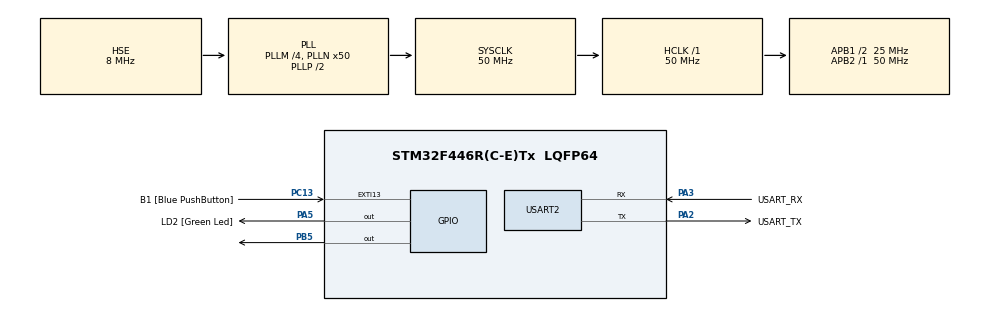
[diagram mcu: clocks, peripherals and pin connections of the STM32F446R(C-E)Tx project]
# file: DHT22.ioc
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Mcu.Family=STM32F4
Mcu.Name=STM32F446R(C-E)Tx
Mcu.Package=LQFP64
NVIC.PriorityGroup=NVIC_PRIORITYGROUP_0
PA13.GPIO_Label=TMS
PA13.Mode=Serial_Wire
PA13.Signal=SYS_JTMS-SWDIO
PA14.GPIO_Label=TCK
PA14.Mode=Serial_Wire
PA14.Signal=SYS_JTCK-SWCLK
PA2.GPIO_Label=USART_TX
PA2.Mode=Asynchronous
PA2.Signal=USART2_TX
PA3.GPIO_Label=USART_RX
PA3.Mode=Asynchronous
PA3.Signal=USART2_RX
PA5.GPIO_Label=LD2 [Green Led]
PA5.Signal=GPIO_Output
PB3.GPIO_Label=SWO
PB3.Signal=SYS_JTDO-SWO
PB5.Signal=GPIO_Output
PC13.GPIO_Label=B1 [Blue PushButton]
PC13.GPIO_ModeDefaultEXTI=GPIO_MODE_IT_FALLING
PC13.Signal=GPXTI13
PC14-OSC32_IN.Mode=LSE-External-Oscillator
PC14-OSC32_IN.Signal=RCC_OSC32_IN
PC15-OSC32_OUT.Mode=LSE-External-Oscillator
PC15-OSC32_OUT.Signal=RCC_OSC32_OUT
PH0-OSC_IN.Mode=HSE-External-Oscillator
PH0-OSC_IN.Signal=RCC_OSC_IN
PH1-OSC_OUT.Mode=HSE-External-Oscillator
PH1-OSC_OUT.Signal=RCC_OSC_OUT
ProjectManager.HeapSize=0x200
ProjectManager.StackSize=0x400
ProjectManager.TargetToolchain=STM32CubeIDE
RCC.48MHZClocksFreq_Value=84000000
RCC.AHBFreq_Value=50000000
RCC.APB1CLKDivider=RCC_HCLK_DIV2
RCC.APB1Freq_Value=25000000
RCC.APB1TimFreq_Value=50000000
RCC.APB2Freq_Value=50000000
RCC.APB2TimFreq_Value=50000000
RCC.CortexFreq_Value=50000000
RCC.FLatency-AdvancedSettings=FLASH_LATENCY_1
RCC.HCLKFreq_Value=50000000
RCC.HSE_VALUE=8000000
RCC.HSI_VALUE=16000000
RCC.PLLM=4
RCC.PLLN=50
RCC.PLLSourceVirtual=RCC_PLLSOURCE_HSE
RCC.SYSCLKFreq_VALUE=50000000
RCC.SYSCLKSource=RCC_SYSCLKSOURCE_PLLCLK
RCC.USBFreq_Value=50000000
RCC.VCOOutputFreq_Value=100000000
TIM6.Prescaler=50-1
USART2.VirtualMode=VM_ASYNC
VP_TIM6_VS_ClockSourceINT.Mode=Enable_Timer
board=NUCLEO-F446RE

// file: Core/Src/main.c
/* USER CODE BEGIN Header */
/**
 ******************************************************************************
 * @file           : main.c
 * @brief          : Main program body
 ******************************************************************************
 * @attention
 *
 * Copyright (c) 2025 STMicroelectronics.
 * All rights reserved.
 *
 * This software is licensed under terms that can be found in the LICENSE file
 * in the root directory of this software component.
 * If no LICENSE file comes with this software, it is provided AS-IS.
 *
 ******************************************************************************
 */
/* USER CODE END Header */
#include "main.h"

/* USER CODE BEGIN Includes */
#include "stdio.h"
/* USER CODE END Includes */

TIM_HandleTypeDef htim6;

UART_HandleTypeDef huart2;

void SystemClock_Config(void);
static void MX_GPIO_Init(void);
static void MX_TIM6_Init(void);
static void MX_USART2_UART_Init(void);

/* USER CODE BEGIN 0 */

// Function to dynamically change GPIO pin mode to output
void Set_Pin_Output(GPIO_TypeDef *GPIOx, uint16_t GPIO_Pin)
{
  GPIO_InitTypeDef GPIO_InitStruct = {0};
  GPIO_InitStruct.Pin = GPIO_Pin;
  GPIO_InitStruct.Mode = GPIO_MODE_OUTPUT_PP;
  GPIO_InitStruct.Pull = GPIO_NOPULL;
  GPIO_InitStruct.Speed = GPIO_SPEED_FREQ_LOW;
  HAL_GPIO_Init(GPIOx, &GPIO_InitStruct);
}

// Function to dynamically change GPIO pin mode to input
void Set_Pin_Input(GPIO_TypeDef *GPIOx, uint16_t GPIO_Pin)
{
  GPIO_InitTypeDef GPIO_InitStruct = {0};
  GPIO_InitStruct.Pin = GPIO_Pin;
  GPIO_InitStruct.Mode = GPIO_MODE_INPUT;
  GPIO_InitStruct.Pull = GPIO_NOPULL;
  HAL_GPIO_Init(GPIOx, &GPIO_InitStruct);
}

// Microsecond delay function using TIM6
void delay(uint16_t time)
{
  __HAL_TIM_SET_COUNTER(&htim6, 0);
  while ((__HAL_TIM_GET_COUNTER(&htim6)) < time)
    ;
}

void DHT22_Start(void)
{
  Set_Pin_Output(GPIOB, GPIO_PIN_5);
  HAL_GPIO_WritePin(GPIOB, GPIO_PIN_5, GPIO_PIN_RESET);
  HAL_Delay(1200);

  HAL_GPIO_WritePin(GPIOB, GPIO_PIN_5, GPIO_PIN_SET);
  delay(20);
  Set_Pin_Input(GPIOB, GPIO_PIN_5);
}

uint8_t DHT22_Check_Response(void)
{
  Set_Pin_Input(GPIOB, GPIO_PIN_5); // set as input
  uint8_t Response = 0;
  delay(40);                                  // wait for 40us
  if (!(HAL_GPIO_ReadPin(GPIOB, GPIO_PIN_5))) // if the pin is low
  {
    delay(80); // wait for 80us

    if ((HAL_GPIO_ReadPin(GPIOB, GPIO_PIN_5)))
      Response = 1; // if the pin is high, response is ok
    else
      Response = -1;
  }

  while ((HAL_GPIO_ReadPin(GPIOB, GPIO_PIN_5)))
    ; // wait for the pin to go low
  return Response;
}

uint8_t DHT22_Read(void)
{
  uint8_t i = 0, j;  // Initialize i to 0
  for (j = 0; j < 8; j++)
  {
    while (!(HAL_GPIO_ReadPin(GPIOB, GPIO_PIN_5)))
      ;        // wait for the pin to go high
    delay(40); // wait for 40 us

    if (!(HAL_GPIO_ReadPin(GPIOB, GPIO_PIN_5))) // if the pin is low
    {
      i &= ~(1 << (7 - j)); // write 0
    }
    else
      i |= (1 << (7 - j)); // if the pin is high, write 1
    while ((HAL_GPIO_ReadPin(GPIOB, GPIO_PIN_5)))
      ; // wait for the pin to go low
  }

  return i;
}
/* USER CODE END 0 */

int main(void)
{

  /* MCU Configuration--------------------------------------------------------*/

  /* Reset of all peripherals, Initializes the Flash interface and the Systick. */
  HAL_Init();

  /* Configure the system clock */
  SystemClock_Config();

  /* Initialize all configured peripherals */
  MX_GPIO_Init();
  MX_TIM6_Init();
  MX_USART2_UART_Init();
  /* USER CODE BEGIN 2 */
 HAL_TIM_Base_Start(&htim6);  // for us Delay
 uint8_t  Rh_byte1, Rh_byte2, Temp_byte1, Temp_byte2;//, SUM, TEMP, RH;
//  float Temperature, Humidity;
  /* USER CODE END 2 */

  /* Infinite loop */
  while (1)
  {

    /* USER CODE BEGIN 3 */
    DHT22_Start();
      // Presence =
      DHT22_Check_Response();
      Rh_byte1 = DHT22_Read ();
      Rh_byte2 = DHT22_Read ();
      Temp_byte1 = DHT22_Read ();
      Temp_byte2 = DHT22_Read ();
      //SUM =
      DHT22_Read();

      // TEMP = ((Temp_byte1<<8)|Temp_byte2);
      // RH = ((Rh_byte1<<8)|Rh_byte2);
    printf("RH: %d.%d, T: %d.%d\r\n",Rh_byte1,Rh_byte2,Temp_byte1,Temp_byte2);
      // Temperature = (float) (TEMP/10.0);
      // Humidity = (float) (RH/10.0);

      HAL_Delay(2000);
  }
  /* USER CODE END 3 */
}

void SystemClock_Config(void)
{
  RCC_OscInitTypeDef RCC_OscInitStruct = {0};
  RCC_ClkInitTypeDef RCC_ClkInitStruct = {0};

  /** Configure the main internal regulator output voltage
   */
  __HAL_RCC_PWR_CLK_ENABLE();
  __HAL_PWR_VOLTAGESCALING_CONFIG(PWR_REGULATOR_VOLTAGE_SCALE3);

  /** Initializes the RCC Oscillators according to the specified parameters
   * in the RCC_OscInitTypeDef structure.
   */
  RCC_OscInitStruct.OscillatorType = RCC_OSCILLATORTYPE_HSE;
  RCC_OscInitStruct.HSEState = RCC_HSE_ON;
  RCC_OscInitStruct.PLL.PLLState = RCC_PLL_ON;
  RCC_OscInitStruct.PLL.PLLSource = RCC_PLLSOURCE_HSE;
  RCC_OscInitStruct.PLL.PLLM = 4;
  RCC_OscInitStruct.PLL.PLLN = 50;
  RCC_OscInitStruct.PLL.PLLP = RCC_PLLP_DIV2;
  RCC_OscInitStruct.PLL.PLLQ = 2;
  RCC_OscInitStruct.PLL.PLLR = 2;
  if (HAL_RCC_OscConfig(&RCC_OscInitStruct) != HAL_OK)
  {
    Error_Handler();
  }

  /** Initializes the CPU, AHB and APB buses clocks
   */
  RCC_ClkInitStruct.ClockType = RCC_CLOCKTYPE_HCLK | RCC_CLOCKTYPE_SYSCLK | RCC_CLOCKTYPE_PCLK1 | RCC_CLOCKTYPE_PCLK2;
  RCC_ClkInitStruct.SYSCLKSource = RCC_SYSCLKSOURCE_PLLCLK;
  RCC_ClkInitStruct.AHBCLKDivider = RCC_SYSCLK_DIV1;
  RCC_ClkInitStruct.APB1CLKDivider = RCC_HCLK_DIV2;
  RCC_ClkInitStruct.APB2CLKDivider = RCC_HCLK_DIV1;

  if (HAL_RCC_ClockConfig(&RCC_ClkInitStruct, FLASH_LATENCY_1) != HAL_OK)
  {
    Error_Handler();
  }
}

static void MX_TIM6_Init(void)
{

  TIM_MasterConfigTypeDef sMasterConfig = {0};

  htim6.Instance = TIM6;
  htim6.Init.Prescaler = 50 - 1;
  htim6.Init.CounterMode = TIM_COUNTERMODE_UP;
  htim6.Init.Period = 65535;
  htim6.Init.AutoReloadPreload = TIM_AUTORELOAD_PRELOAD_DISABLE;
  if (HAL_TIM_Base_Init(&htim6) != HAL_OK)
  {
    Error_Handler();
  }
  sMasterConfig.MasterOutputTrigger = TIM_TRGO_RESET;
  sMasterConfig.MasterSlaveMode = TIM_MASTERSLAVEMODE_DISABLE;
  if (HAL_TIMEx_MasterConfigSynchronization(&htim6, &sMasterConfig) != HAL_OK)
  {
    Error_Handler();
  }
}

static void MX_USART2_UART_Init(void)
{

  huart2.Instance = USART2;
  huart2.Init.BaudRate = 115200;
  huart2.Init.WordLength = UART_WORDLENGTH_8B;
  huart2.Init.StopBits = UART_STOPBITS_1;
  huart2.Init.Parity = UART_PARITY_NONE;
  huart2.Init.Mode = UART_MODE_TX_RX;
  huart2.Init.HwFlowCtl = UART_HWCONTROL_NONE;
  huart2.Init.OverSampling = UART_OVERSAMPLING_16;
  if (HAL_UART_Init(&huart2) != HAL_OK)
  {
    Error_Handler();
  }
}

static void MX_GPIO_Init(void)
{
  GPIO_InitTypeDef GPIO_InitStruct = {0};

  /* GPIO Ports Clock Enable */
  __HAL_RCC_GPIOC_CLK_ENABLE();
  __HAL_RCC_GPIOH_CLK_ENABLE();
  __HAL_RCC_GPIOA_CLK_ENABLE();
  __HAL_RCC_GPIOB_CLK_ENABLE();

  /*Configure GPIO pin Output Level */
  HAL_GPIO_WritePin(LD2_GPIO_Port, LD2_Pin, GPIO_PIN_RESET);

  /*Configure GPIO pin Output Level */
  HAL_GPIO_WritePin(GPIOB, GPIO_PIN_5, GPIO_PIN_RESET);

  /*Configure GPIO pin : B1_Pin */
  GPIO_InitStruct.Pin = B1_Pin;
  GPIO_InitStruct.Mode = GPIO_MODE_IT_FALLING;
  GPIO_InitStruct.Pull = GPIO_NOPULL;
  HAL_GPIO_Init(B1_GPIO_Port, &GPIO_InitStruct);

  /*Configure GPIO pin : LD2_Pin */
  GPIO_InitStruct.Pin = LD2_Pin;
  GPIO_InitStruct.Mode = GPIO_MODE_OUTPUT_PP;
  GPIO_InitStruct.Pull = GPIO_NOPULL;
  GPIO_InitStruct.Speed = GPIO_SPEED_FREQ_LOW;
  HAL_GPIO_Init(LD2_GPIO_Port, &GPIO_InitStruct);

  /*Configure GPIO pin : PB5 */
  GPIO_InitStruct.Pin = GPIO_PIN_5;
  GPIO_InitStruct.Mode = GPIO_MODE_OUTPUT_PP;
  GPIO_InitStruct.Pull = GPIO_NOPULL;
  GPIO_InitStruct.Speed = GPIO_SPEED_FREQ_LOW;
  HAL_GPIO_Init(GPIOB, &GPIO_InitStruct);

}

/* USER CODE BEGIN 4 */
int _write(int file, char *ptr, int len)
{

  uint32_t timeout = HAL_GetTick() + 100; // 100ms timeout
  while (HAL_GetTick() < timeout)
  {
    if (huart2.gState == HAL_UART_STATE_READY)
    {
      HAL_UART_Transmit(&huart2, (uint8_t *)ptr, len, HAL_MAX_DELAY);
      return len;
    }
  }
  return -1; // Error: USB not ready or timeout
}
/* USER CODE END 4 */

void Error_Handler(void)
{
  __disable_irq();
  while (1)
  {
  }
}
